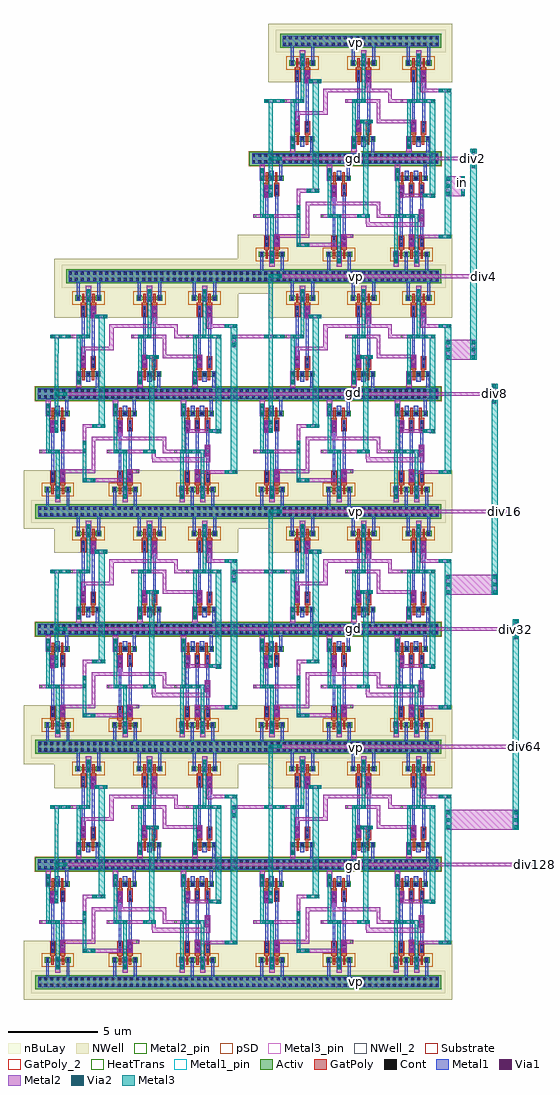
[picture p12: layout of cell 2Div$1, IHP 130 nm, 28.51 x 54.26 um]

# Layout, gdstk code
from math import pi, radians
import gdstk
lib = gdstk.Library(unit=1e-6, precision=1e-09)
def R(c, l, rs):  # rectangles x0, y0, x1, y1
    for r in rs: c.add(gdstk.rectangle(r[:2], r[2:], *l))
def A(c, l, x, y, w, h, nx, ny, dx, dy):  # array of equal rectangles
    R(c, l, [(x+i*dx, y+j*dy, x+i*dx+w, y+j*dy+h) for i in range(nx) for j in range(ny)])
Activ = (1, 0)
GatPoly = (5, 0)
GatPoly_2 = (5, 2)
Cont = (6, 0)
Metal1 = (8, 0)
Metal1_pin = (8, 2)
Metal2 = (10, 0)
Metal2_pin = (10, 2)
pSD = (14, 0)
Via1 = (19, 0)
Via2 = (29, 0)
Metal3 = (30, 0)
Metal3_pin = (30, 2)
NWell = (31, 0)
NWell_2 = (31, 2)
nBuLay = (32, 0)
Substrate = (40, 0)
HeatTrans = (51, 0)

ptap1_2_3 = lib.new_cell('ptap1$2$3')
R(ptap1_2_3, Activ, [(0,0,0.78,0.78)])
R(ptap1_2_3, Cont, [(0.14,0.14,0.3,0.3), (0.48,0.14,0.64,0.3), (0.14,0.48,0.3,0.64), (0.48,0.48,0.64,0.64)])
R(ptap1_2_3, Metal1, [(0.14,0.09,0.64,0.69), (0.14,0.14,0.64,0.64)])
R(ptap1_2_3, Metal1_pin, [(0.14,0.14,0.64,0.64)])
R(ptap1_2_3, pSD, [(-0.03,-0.03,0.81,0.81)])
R(ptap1_2_3, Substrate, [(0,0,0.78,0.78)])
ptap1_2_3.add(gdstk.Label('sub!', (0.39,0.01), layer=63, texttype=0))
ptap1_2_3.add(gdstk.Label('sub!', (0.39,0.01), layer=40, texttype=0))

ntap1_5_6 = lib.new_cell('ntap1$5$6')
R(ntap1_5_6, Activ, [(0,0,7.8,0.78)])
A(ntap1_5_6, Cont, 0.08, 0.14, 0.16, 0.16, 23, 2, 0.34, 0.34)
R(ntap1_5_6, Metal1, [(0.08,0.09,7.72,0.69)])
R(ntap1_5_6, Metal1_pin, [(0.08,0.09,7.72,0.69), (0.08,0.14,7.72,0.64)])
R(ntap1_5_6, NWell, [(-0.24,-0.24,8.04,1.02), (0,0,7.8,0.78)])
R(ntap1_5_6, NWell_2, [(0,0,7.8,0.78)])
R(ntap1_5_6, nBuLay, [(-0.24,-0.24,8.04,1.02)])
ntap1_5_6.add(gdstk.Label('well', (3.9,0.01), layer=63, texttype=0))
ntap1_5_6.add(gdstk.Label('well', (3.9,0.01), layer=31, texttype=0))

ntap1_1_6_1 = lib.new_cell('ntap1$1$6$1')
R(ntap1_1_6_1, Activ, [(0,0,2.5,0.78)])
A(ntap1_1_6_1, Cont, 0.15, 0.14, 0.16, 0.16, 7, 2, 0.34, 0.34)
R(ntap1_1_6_1, Metal1, [(0.15,0.09,2.35,0.69)])
R(ntap1_1_6_1, Metal1_pin, [(0.15,0.09,2.35,0.69), (0.15,0.14,2.35,0.64)])
R(ntap1_1_6_1, NWell, [(-0.24,-0.24,2.74,1.02), (0,0,2.5,0.78)])
R(ntap1_1_6_1, NWell_2, [(0,0,2.5,0.78)])
R(ntap1_1_6_1, nBuLay, [(-0.24,-0.24,2.74,1.02)])
ntap1_1_6_1.add(gdstk.Label('well', (1.25,0.01), layer=63, texttype=0))
ntap1_1_6_1.add(gdstk.Label('well', (1.25,0.01), layer=31, texttype=0))

nmos_14_1 = lib.new_cell('nmos$14$1')
A(nmos_14_1, Activ, 0, 0, 0.3, 0.3, 3, 1, 0.51, 0)
R(nmos_14_1, Activ, [(0,0,1.32,0.3)])
R(nmos_14_1, GatPoly, [(0.34,-0.18,0.47,0.48), (0.85,-0.18,0.98,0.48)])
R(nmos_14_1, GatPoly_2, [(0.34,-0.18,0.47,0.48)])
A(nmos_14_1, Cont, 0.07, 0.07, 0.16, 0.16, 3, 1, 0.51, 0)
A(nmos_14_1, Metal1, 0.07, 0, 0.16, 0.3, 3, 1, 0.51, 0)
R(nmos_14_1, Metal1_pin, [(0.07,0,0.23,0.3), (0.58,0,0.74,0.3)])
R(nmos_14_1, HeatTrans, [(0.34,-0.18,0.47,0.48), (0.85,-0.18,0.98,0.48)])
nmos_14_1.add(gdstk.Label('nmos', (0.405,0.15), layer=63, texttype=0))
nmos_14_1.add(gdstk.Label('nmos', (0.405,0.15), layer=51, texttype=0))
nmos_14_1.add(gdstk.Label('nmos', (0.915,0.15), layer=51, texttype=0))

ptap1_1_7_1 = lib.new_cell('ptap1$1$7$1')
R(ptap1_1_7_1, Activ, [(0,0,2.5,0.78)])
A(ptap1_1_7_1, Cont, 0.15, 0.14, 0.16, 0.16, 7, 2, 0.34, 0.34)
R(ptap1_1_7_1, Metal1, [(0.15,0.09,2.35,0.69), (0.15,0.14,2.35,0.64)])
R(ptap1_1_7_1, Metal1_pin, [(0.15,0.14,2.35,0.64)])
R(ptap1_1_7_1, pSD, [(-0.03,-0.03,2.53,0.81)])
R(ptap1_1_7_1, Substrate, [(0,0,2.5,0.78)])
ptap1_1_7_1.add(gdstk.Label('sub!', (1.25,0.01), layer=63, texttype=0))
ptap1_1_7_1.add(gdstk.Label('sub!', (1.25,0.01), layer=40, texttype=0))

via_8_2_1 = lib.new_cell('Via$8$2$1')
R(via_8_2_1, Metal2, [(-0.1,-0.35,0.1,0.35)])
R(via_8_2_1, Via2, [(-0.095,-0.3,0.095,-0.11), (-0.095,0.11,0.095,0.3)])
R(via_8_2_1, Metal3, [(-0.1,-0.35,0.1,0.35)])

via_10_4_1 = lib.new_cell('Via$10$4$1')
R(via_10_4_1, Metal1, [(-0.105,-0.35,0.105,0.35)])
R(via_10_4_1, Metal2, [(-0.1,-0.35,0.1,0.35)])
R(via_10_4_1, Via1, [(-0.095,-0.3,0.095,-0.11), (-0.095,0.11,0.095,0.3)])

via_6_8_1 = lib.new_cell('Via$6$8$1')
R(via_6_8_1, GatPoly, [(-0.32,-0.15,0.32,0.15)])
R(via_6_8_1, Cont, [(-0.25,-0.08,-0.09,0.08), (0.09,-0.08,0.25,0.08)])
R(via_6_8_1, Metal1, [(-0.3,-0.08,0.3,0.08)])

pmos_12_1 = lib.new_cell('pmos$12$1')
A(pmos_12_1, Activ, 0, 0, 0.3, 0.3, 3, 1, 0.57, 0)
R(pmos_12_1, Activ, [(0,0.075,1.44,0.225)])
R(pmos_12_1, GatPoly, [(0.37,-0.105,0.5,0.405), (0.37,-0.105,0.5,0.405), (0.94,-0.105,1.07,0.405)])
A(pmos_12_1, Cont, 0.07, 0.07, 0.16, 0.16, 3, 1, 0.57, 0)
R(pmos_12_1, Metal1, [(0.07,0.02,0.23,0.28), (0.07,0.02,0.23,0.28), (0.64,0.02,0.8,0.28), (0.64,0.02,0.8,0.28), (1.21,0.02,1.37,0.28)])
R(pmos_12_1, pSD, [(-0.18,-0.225,1.62,0.525)])
R(pmos_12_1, NWell, [(-0.31,-0.31,1.75,0.61)])
R(pmos_12_1, Substrate, [(1.14,0,1.44,0.3)])
R(pmos_12_1, HeatTrans, [(0.37,-0.105,0.5,0.405), (0.94,-0.105,1.07,0.405)])
pmos_12_1.add(gdstk.Label('pmos', (0.435,0.15), layer=63, texttype=0))
pmos_12_1.add(gdstk.Label('pmos', (0.435,0.15), layer=51, texttype=0))
pmos_12_1.add(gdstk.Label('pmos', (1.005,0.15), layer=51, texttype=0))

nand_2in_nmosx2_7_1 = lib.new_cell('NAND_2in_nmosx2$7$1')
R(nand_2in_nmosx2_7_1, GatPoly, [(0.605,-3.005,0.905,-2.895), (1.165,-3.005,1.465,-2.895), (0.6,0.58,0.9,0.73), (1.16,0.58,1.46,0.73), (0.68,0.68,0.81,0.77), (1.25,0.68,1.38,0.77)])
R(nand_2in_nmosx2_7_1, Metal1, [(0.445,-4.15,0.605,-3.37), (0.915,-3.675,1.155,-3.415), (0.915,-3.435,1.155,-3.095), (0.67,-2.44,0.835,-2.21), (0.67,-2.21,0.83,-1.27), (1.23,-2.21,1.39,-1.27), (0.67,-1.31,0.83,-0.37), (1.23,-1.31,1.39,-0.37), (0.67,-0.37,0.83,-0.12), (1.23,-0.37,1.39,-0.01), (1.52,1,1.68,1.2), (0.38,1.01,0.54,1.15), (0.38,1.115,0.54,1.99), (1.52,1.115,1.68,1.94)])
R(nand_2in_nmosx2_7_1, Metal1_pin, [(0.44,-4.395,0.57,-4.265), (0.4,2.15,0.53,2.28)])
R(nand_2in_nmosx2_7_1, Metal2, [(1.415,-3.995,1.705,-3.795), (1.415,-3.795,1.705,-3.095), (1.165,-2.875,1.465,-2.175), (1.62,-1.24,2.05,-1.04), (0.6,-0.14,0.9,0.56), (0.88,0.78,1.17,0.98), (0.88,0.98,1.17,1.68)])
R(nand_2in_nmosx2_7_1, Metal2_pin, [(1.255,-2.345,1.385,-2.215), (1.905,-1.205,2.035,-1.075), (0.69,-0.1,0.82,0.03)])
R(nand_2in_nmosx2_7_1, Metal3, [(1.465,-3.105,1.665,-2.905), (1.465,-2.905,1.665,-1.045), (0.93,-1.09,1.13,0.17), (0.93,0.1,1.13,0.62), (0.93,0.62,1.13,0.72), (0.93,0.71,1.13,0.87)])
R(nand_2in_nmosx2_7_1, NWell, [(-0.85,-0.1,2.93,3.17)])
nand_2in_nmosx2_7_1.add(gdstk.Reference(ntap1_1_6_1, (-0.23,1.81)))
nand_2in_nmosx2_7_1.add(gdstk.Reference(nmos_14_1, (1.695,-3.095), rotation=pi))
nand_2in_nmosx2_7_1.add(gdstk.Reference(ptap1_1_7_1, (-0.22,-4.73)))
nand_2in_nmosx2_7_1.add(gdstk.Reference(via_8_2_1, (1.27,-1.14), rotation=3*pi/2))
nand_2in_nmosx2_7_1.add(gdstk.Reference(via_10_4_1, (1.565,-3.445), rotation=pi))
nand_2in_nmosx2_7_1.add(gdstk.Reference(via_10_4_1, (1.315,-2.525), rotation=pi))
nand_2in_nmosx2_7_1.add(gdstk.Reference(via_10_4_1, (0.75,0.21), rotation=pi))
nand_2in_nmosx2_7_1.add(gdstk.Reference(via_10_4_1, (1.03,1.13), rotation=pi))
nand_2in_nmosx2_7_1.add(gdstk.Reference(via_6_8_1, (0.755,-2.575), rotation=3*pi/2))
nand_2in_nmosx2_7_1.add(gdstk.Reference(via_6_8_1, (1.315,-2.575), rotation=3*pi/2))
nand_2in_nmosx2_7_1.add(gdstk.Reference(via_6_8_1, (0.75,0.26), rotation=3*pi/2))
nand_2in_nmosx2_7_1.add(gdstk.Reference(via_6_8_1, (1.31,0.26), rotation=3*pi/2))
nand_2in_nmosx2_7_1.add(gdstk.Reference(via_8_2_1, (1.565,-3.445), rotation=pi))
nand_2in_nmosx2_7_1.add(gdstk.Reference(via_8_2_1, (1.03,1.13), rotation=pi))
nand_2in_nmosx2_7_1.add(gdstk.Reference(pmos_12_1, (1.75,1.13), rotation=pi))
nand_2in_nmosx2_7_1.add(gdstk.Label('VP', (0.46,2.21), layer=8, texttype=25))
nand_2in_nmosx2_7_1.add(gdstk.Label('GND', (0.505,-4.325), layer=8, texttype=25))
nand_2in_nmosx2_7_1.add(gdstk.Label('y', (1.97,-1.14), layer=10, texttype=25))
nand_2in_nmosx2_7_1.add(gdstk.Label('b', (0.75,-0.04), layer=10, texttype=25))
nand_2in_nmosx2_7_1.add(gdstk.Label('a', (1.315,-2.285), layer=10, texttype=25))

via_11_2_1 = lib.new_cell('Via$11$2$1')
R(via_11_2_1, Metal2, [(-0.1,-0.555,0.1,0.555)])
A(via_11_2_1, Via2, -0.095, -0.505, 0.19, 0.19, 1, 3, 0, 0.41)
R(via_11_2_1, Metal3, [(-0.1,-0.555,0.1,0.555)])

nmos_2_4_1 = lib.new_cell('nmos$2$4$1')
A(nmos_2_4_1, Activ, 0, 0, 0.3, 0.3, 4, 1, 0.51, 0)
R(nmos_2_4_1, Activ, [(0,0,1.83,0.3)])
A(nmos_2_4_1, GatPoly, 0.34, -0.18, 0.13, 0.66, 3, 1, 0.51, 0)
R(nmos_2_4_1, GatPoly_2, [(0.34,-0.18,0.47,0.48)])
A(nmos_2_4_1, Cont, 0.07, 0.07, 0.16, 0.16, 4, 1, 0.51, 0)
A(nmos_2_4_1, Metal1, 0.07, 0, 0.16, 0.3, 4, 1, 0.51, 0)
R(nmos_2_4_1, Metal1_pin, [(0.07,0,0.23,0.3), (0.58,0,0.74,0.3)])
A(nmos_2_4_1, HeatTrans, 0.34, -0.18, 0.13, 0.66, 3, 1, 0.51, 0)
nmos_2_4_1.add(gdstk.Label('nmos', (0.405,0.15), layer=63, texttype=0))
nmos_2_4_1.add(gdstk.Label('nmos', (0.405,0.15), layer=51, texttype=0))
nmos_2_4_1.add(gdstk.Label('nmos', (0.915,0.15), layer=51, texttype=0))
nmos_2_4_1.add(gdstk.Label('nmos', (1.425,0.15), layer=51, texttype=0))

ntap1_6_1 = lib.new_cell('ntap1$6$1')
R(ntap1_6_1, Activ, [(0,0,3.5,0.78)])
A(ntap1_6_1, Cont, 0.14, 0.14, 0.16, 0.16, 10, 2, 0.34, 0.34)
R(ntap1_6_1, Metal1, [(0.14,0.09,3.36,0.69)])
R(ntap1_6_1, Metal1_pin, [(0.14,0.09,3.36,0.69), (0.14,0.14,3.36,0.64)])
R(ntap1_6_1, NWell, [(-0.24,-0.24,3.74,1.02), (0,0,3.5,0.78)])
R(ntap1_6_1, NWell_2, [(0,0,3.5,0.78)])
R(ntap1_6_1, nBuLay, [(-0.24,-0.24,3.74,1.02)])
ntap1_6_1.add(gdstk.Label('well', (1.75,0.01), layer=63, texttype=0))
ntap1_6_1.add(gdstk.Label('well', (1.75,0.01), layer=31, texttype=0))

ptap1_4_1 = lib.new_cell('ptap1$4$1')
R(ptap1_4_1, Activ, [(0,0,3.5,0.78)])
A(ptap1_4_1, Cont, 0.14, 0.14, 0.16, 0.16, 10, 2, 0.34, 0.34)
R(ptap1_4_1, Metal1, [(0.14,0.09,3.36,0.69), (0.14,0.14,3.36,0.64)])
R(ptap1_4_1, Metal1_pin, [(0.14,0.14,3.36,0.64)])
R(ptap1_4_1, pSD, [(-0.03,-0.03,3.53,0.81)])
R(ptap1_4_1, Substrate, [(0,0,3.5,0.78)])
ptap1_4_1.add(gdstk.Label('sub!', (1.75,0.01), layer=63, texttype=0))
ptap1_4_1.add(gdstk.Label('sub!', (1.75,0.01), layer=40, texttype=0))

pmos_2_4_1 = lib.new_cell('pmos$2$4$1')
A(pmos_2_4_1, Activ, 0, 0, 0.3, 0.3, 4, 1, 0.57, 0)
R(pmos_2_4_1, Activ, [(0,0.075,2.01,0.225)])
A(pmos_2_4_1, GatPoly, 0.37, -0.105, 0.13, 0.51, 3, 1, 0.57, 0)
R(pmos_2_4_1, GatPoly, [(0.37,-0.105,0.5,0.405)])
A(pmos_2_4_1, Cont, 0.07, 0.07, 0.16, 0.16, 4, 1, 0.57, 0)
A(pmos_2_4_1, Metal1, 0.64, 0.02, 0.16, 0.26, 3, 1, 0.57, 0)
R(pmos_2_4_1, Metal1, [(0.07,0.02,0.23,0.28), (0.07,0.02,0.23,0.28), (0.64,0.02,0.8,0.28)])
R(pmos_2_4_1, pSD, [(-0.18,-0.225,2.19,0.525)])
R(pmos_2_4_1, NWell, [(-0.31,-0.31,2.32,0.61)])
R(pmos_2_4_1, Substrate, [(1.71,0,2.01,0.3)])
A(pmos_2_4_1, HeatTrans, 0.37, -0.105, 0.13, 0.51, 3, 1, 0.57, 0)
pmos_2_4_1.add(gdstk.Label('pmos', (0.435,0.15), layer=63, texttype=0))
pmos_2_4_1.add(gdstk.Label('pmos', (0.435,0.15), layer=51, texttype=0))
pmos_2_4_1.add(gdstk.Label('pmos', (1.005,0.15), layer=51, texttype=0))
pmos_2_4_1.add(gdstk.Label('pmos', (1.575,0.15), layer=51, texttype=0))

nand_3in_nmosx3_10_1 = lib.new_cell('NAND_3in_nmosx3$10$1')
R(nand_3in_nmosx3_10_1, GatPoly, [(0.115,-3.025,0.245,-2.915), (0.685,-3.025,0.815,-2.915), (0.035,-3.005,0.335,-2.895), (0.605,-3.005,0.905,-2.895), (1.165,-3.005,1.465,-2.895), (0.03,0.58,0.33,0.73), (0.6,0.58,0.9,0.73), (1.16,0.58,1.46,0.73), (0.68,0.68,0.81,0.77), (1.25,0.68,1.38,0.77)])
R(nand_3in_nmosx3_10_1, Metal1, [(-0.095,-4.15,0.065,-3.37), (0.375,-3.675,0.615,-3.415), (0.885,-3.675,1.125,-3.415), (0.375,-3.435,0.615,-3.095), (0.885,-3.435,1.125,-3.095), (0.67,-2.44,0.835,-2.09), (0.1,-2.42,0.265,-1.91), (0.67,-2.21,0.83,-1.27), (1.23,-2.21,1.39,-1.27), (0.1,-1.91,0.26,-0.56), (0.67,-1.31,0.83,-0.37), (1.23,-1.31,1.39,-0.37), (0.1,-0.62,0.26,-0.04), (1.23,-0.53,1.39,0), (0.67,-0.37,0.83,-0.11), (0.95,1,1.11,1.2), (-0.19,1.01,-0.03,1.15), (-0.19,1.115,-0.03,1.99), (0.95,1.115,1.11,1.94)])
R(nand_3in_nmosx3_10_1, Metal1_pin, [(0.44,-4.405,0.57,-4.275), (0.74,2.15,0.87,2.28)])
R(nand_3in_nmosx3_10_1, Metal2, [(1.375,-3.995,1.665,-3.795), (1.375,-3.795,1.665,-3.095), (1.155,-2.875,1.455,-2.175), (0.03,-1.51,0.33,-0.81), (1.62,-1.24,2.05,-1.04), (0.59,-0.14,0.89,0.56), (0.31,0.78,0.6,0.98), (1.45,0.78,1.74,0.98), (0.31,0.98,0.6,1.68), (1.45,0.98,1.74,1.68)])
R(nand_3in_nmosx3_10_1, Metal2_pin, [(1.255,-2.385,1.385,-2.255), (0.11,-1.215,0.24,-1.085), (1.905,-1.205,2.035,-1.075), (0.69,-0.07,0.82,0.06)])
R(nand_3in_nmosx3_10_1, Metal3, [(1.425,-3.105,1.625,-2.905), (1.425,-2.905,1.625,-2.5), (1.425,-2.5,1.625,-1.15), (0.36,-1.24,0.56,-0.97), (0.38,-1.24,0.565,-1.04), (1.66,-1.24,1.7,-1.09), (1.5,-1.09,1.7,0.17), (0.36,-0.97,0.56,0.26), (1.5,-0.03,1.7,0.62), (0.36,0.08,0.56,0.78), (1.5,0.62,1.7,0.72), (1.5,0.71,1.7,0.87)])
R(nand_3in_nmosx3_10_1, NWell, [(-1.52,-0.1,-0.85,3.17), (-0.85,-0.1,2.93,3.17)])
nand_3in_nmosx3_10_1.add(gdstk.Reference(via_10_4_1, (1.525,-3.445), rotation=pi))
nand_3in_nmosx3_10_1.add(gdstk.Reference(via_10_4_1, (1.315,-2.525), rotation=pi))
nand_3in_nmosx3_10_1.add(gdstk.Reference(via_10_4_1, (0.18,-1.16), rotation=pi))
nand_3in_nmosx3_10_1.add(gdstk.Reference(via_10_4_1, (0.75,0.21), rotation=pi))
nand_3in_nmosx3_10_1.add(gdstk.Reference(via_10_4_1, (0.46,1.13), rotation=pi))
nand_3in_nmosx3_10_1.add(gdstk.Reference(via_10_4_1, (1.6,1.13), rotation=pi))
nand_3in_nmosx3_10_1.add(gdstk.Reference(via_11_2_1, (1.12,-1.14), rotation=3*pi/2))
nand_3in_nmosx3_10_1.add(gdstk.Reference(nmos_2_4_1, (1.665,-3.095), rotation=pi))
nand_3in_nmosx3_10_1.add(gdstk.Reference(ntap1_6_1, (-0.9,1.81)))
nand_3in_nmosx3_10_1.add(gdstk.Reference(ptap1_4_1, (-0.89,-4.73)))
nand_3in_nmosx3_10_1.add(gdstk.Reference(via_8_2_1, (1.525,-3.445), rotation=pi))
nand_3in_nmosx3_10_1.add(gdstk.Reference(via_8_2_1, (0.46,1.13), rotation=pi))
nand_3in_nmosx3_10_1.add(gdstk.Reference(via_8_2_1, (1.6,1.13), rotation=pi))
nand_3in_nmosx3_10_1.add(gdstk.Reference(via_6_8_1, (0.185,-2.575), rotation=3*pi/2))
nand_3in_nmosx3_10_1.add(gdstk.Reference(via_6_8_1, (0.755,-2.575), rotation=3*pi/2))
nand_3in_nmosx3_10_1.add(gdstk.Reference(via_6_8_1, (1.315,-2.575), rotation=3*pi/2))
nand_3in_nmosx3_10_1.add(gdstk.Reference(via_6_8_1, (0.18,0.26), rotation=3*pi/2))
nand_3in_nmosx3_10_1.add(gdstk.Reference(via_6_8_1, (0.75,0.26), rotation=3*pi/2))
nand_3in_nmosx3_10_1.add(gdstk.Reference(via_6_8_1, (1.31,0.26), rotation=3*pi/2))
nand_3in_nmosx3_10_1.add(gdstk.Reference(pmos_2_4_1, (1.75,1.13), rotation=pi))
nand_3in_nmosx3_10_1.add(gdstk.Label('VP', (0.8,2.21), layer=8, texttype=25))
nand_3in_nmosx3_10_1.add(gdstk.Label('GND', (0.505,-4.335), layer=8, texttype=25))
nand_3in_nmosx3_10_1.add(gdstk.Label('y', (1.97,-1.14), layer=10, texttype=25))
nand_3in_nmosx3_10_1.add(gdstk.Label('b', (0.76,0.02), layer=10, texttype=25))
nand_3in_nmosx3_10_1.add(gdstk.Label('c', (0.17,-1.15), layer=10, texttype=25))
nand_3in_nmosx3_10_1.add(gdstk.Label('a', (1.315,-2.325), layer=10, texttype=25))

ntap1_3_2_1 = lib.new_cell('ntap1$3$2$1')
R(ntap1_3_2_1, Activ, [(0,0,1.8,0.78)])
A(ntap1_3_2_1, Cont, 0.14, 0.14, 0.16, 0.16, 5, 2, 0.34, 0.34)
R(ntap1_3_2_1, Metal1, [(0.14,0.09,1.66,0.69)])
R(ntap1_3_2_1, Metal1_pin, [(0.14,0.09,1.66,0.69), (0.14,0.14,1.66,0.64)])
R(ntap1_3_2_1, NWell, [(-0.24,-0.24,2.04,1.02), (0,0,1.8,0.78)])
R(ntap1_3_2_1, NWell_2, [(0,0,1.8,0.78)])
R(ntap1_3_2_1, nBuLay, [(-0.24,-0.24,2.04,1.02)])
ntap1_3_2_1.add(gdstk.Label('well', (0.9,0.01), layer=63, texttype=0))
ntap1_3_2_1.add(gdstk.Label('well', (0.9,0.01), layer=31, texttype=0))

via_36_1 = lib.new_cell('Via$36$1')
R(via_36_1, Metal2, [(-0.35,-0.1,0.35,0.1)])
R(via_36_1, Via2, [(-0.3,-0.095,-0.11,0.095), (0.11,-0.095,0.3,0.095)])
R(via_36_1, Metal3, [(-0.35,-0.1,0.35,0.1)])

via_12_2_1 = lib.new_cell('Via$12$2$1')
R(via_12_2_1, Metal2, [(-0.555,-0.1,0.555,0.1)])
A(via_12_2_1, Via2, -0.505, -0.095, 0.19, 0.19, 3, 1, 0.41, 0)
R(via_12_2_1, Metal3, [(-0.555,-0.1,0.555,0.1)])

via_13_3_1 = lib.new_cell('Via$13$3$1')
R(via_13_3_1, Metal2, [(-0.76,-0.1,0.76,0.1)])
A(via_13_3_1, Via2, -0.71, -0.095, 0.19, 0.19, 4, 1, 0.41, 0)
R(via_13_3_1, Metal3, [(-0.76,-0.1,0.76,0.1)])

ntap1_2_9_1 = lib.new_cell('ntap1$2$9$1')
R(ntap1_2_9_1, Activ, [(0,0,2,0.78)])
A(ntap1_2_9_1, Cont, 0.07, 0.14, 0.16, 0.16, 6, 2, 0.34, 0.34)
R(ntap1_2_9_1, Metal1, [(0.07,0.09,1.93,0.69)])
R(ntap1_2_9_1, Metal1_pin, [(0.07,0.09,1.93,0.69), (0.07,0.14,1.93,0.64)])
R(ntap1_2_9_1, NWell, [(-0.24,-0.24,2.24,1.02), (0,0,2,0.78)])
R(ntap1_2_9_1, NWell_2, [(0,0,2,0.78)])
R(ntap1_2_9_1, nBuLay, [(-0.24,-0.24,2.24,1.02)])
ntap1_2_9_1.add(gdstk.Label('well', (1,0.01), layer=63, texttype=0))
ntap1_2_9_1.add(gdstk.Label('well', (1,0.01), layer=31, texttype=0))

d_flip_flop_2_1 = lib.new_cell('d_flip_flop$2$1')
R(d_flip_flop_2_1, Metal1_pin, [(5.305,-5.04,5.435,-4.91), (4.995,1.37,5.125,1.5), (4.785,7.96,4.915,8.09)])
R(d_flip_flop_2_1, Metal2, [(-0.15,-2.95,1.29,-2.75), (1.29,-2.95,1.96,-2.75), (5.3,-2.91,5.88,-2.71), (7.74,-2.91,9.52,-2.71), (7.74,-2.81,7.94,-2.31), (1.34,-2.31,1.6,-2.04), (1.36,-2.31,4.58,-2.04), (7.74,-2.31,7.94,-1.39), (4.38,-2.13,4.585,-1.73), (3.36,-1.81,3.94,-1.61), (3.79,-1.81,3.99,-1.39), (4.38,-1.81,4.67,-1.61), (4.67,-1.81,6.02,-1.61), (8.24,-1.81,8.44,-0.89), (8.27,-1.81,9.71,-1.61), (3.79,-1.39,3.99,-0.91), (7.74,-1.39,7.94,-0.91), (3.79,-1.1,4.07,-0.9), (4.07,-1.1,4.65,-0.9), (4.65,-1.1,6.26,-0.9), (6.16,-1.1,7.94,-0.9), (6.215,-0.94,6.515,-0.675), (8.24,-0.89,8.44,-0.2), (1.38,-0.67,2.58,-0.47), (7.69,-0.4,8.27,-0.2), (1.79,3.46,3.17,3.66), (3.17,3.46,3.99,3.66), (3.79,3.53,3.99,4.17), (8.255,3.655,8.505,4.12), (6.71,3.92,6.96,5.17), (6.71,3.92,7.72,4.12), (7.72,3.92,8.47,4.12), (3.79,4.17,3.99,4.59), (2.465,4.59,3.35,4.79), (3.79,4.59,4.61,4.79), (9.14,4.59,10.17,4.79), (3.15,4.79,3.35,5.21), (0.13,5.17,0.61,5.37), (0.61,5.17,1.48,5.37), (1.23,5.17,1.53,5.19), (3.15,5.17,3.67,5.37), (3.67,5.17,4.54,5.37), (4.22,5.17,6.21,5.37), (6.21,5.17,6.96,5.37), (1.23,5.19,1.53,5.69), (4.29,5.29,4.59,5.69)])
R(d_flip_flop_2_1, Metal2_pin, [(5.325,-2.88,5.455,-2.75), (10.695,-1.775,10.825,-1.645), (10.075,4.625,10.205,4.755)])
R(d_flip_flop_2_1, Metal3, [(-0.15,-2.85,0.2,-2.45), (-0.15,-2.45,0.2,4.28), (4.45,-1.81,4.73,2.56), (0.73,-0.7,1.05,3.6), (9.78,-0.47,9.98,3.76), (7.205,-0.4,7.54,4.77), (4.45,2.56,4.73,3.49), (0.73,3.6,1.05,4.69), (9.775,3.76,9.98,4.69), (-0.15,4.28,0.2,5.23), (7.205,4.77,7.54,5.76)])
R(d_flip_flop_2_1, Metal3_pin, [(-0.045,1.42,0.085,1.55)])
d_flip_flop_2_1.add(gdstk.Reference(nand_2in_nmosx2_7_1, (5.05,-2.85), x_reflection=True))
d_flip_flop_2_1.add(gdstk.Reference(nand_3in_nmosx3_10_1, (1.31,-2.85), x_reflection=True))
d_flip_flop_2_1.add(gdstk.Reference(nand_2in_nmosx2_7_1, (7.09,5.83)))
d_flip_flop_2_1.add(gdstk.Reference(nand_2in_nmosx2_7_1, (0.63,5.83)))
d_flip_flop_2_1.add(gdstk.Reference(nand_2in_nmosx2_7_1, (8.79,-2.85), x_reflection=True))
d_flip_flop_2_1.add(gdstk.Reference(ntap1_3_2_1, (2.45,7.64)))
d_flip_flop_2_1.add(gdstk.Reference(ntap1_3_2_1, (5.51,7.64)))
d_flip_flop_2_1.add(gdstk.Reference(via_36_1, (0.2,-2.85), rotation=pi))
d_flip_flop_2_1.add(gdstk.Reference(via_36_1, (0.2,5.27), rotation=pi))
d_flip_flop_2_1.add(gdstk.Reference(nand_2in_nmosx2_7_1, (3.69,5.83)))
d_flip_flop_2_1.add(gdstk.Reference(via_12_2_1, (9.68,4.69), rotation=pi))
d_flip_flop_2_1.add(gdstk.Reference(via_8_2_1, (9.88,-0.32), rotation=pi))
d_flip_flop_2_1.add(gdstk.Reference(via_36_1, (1.08,-0.57), rotation=pi))
d_flip_flop_2_1.add(gdstk.Reference(via_13_3_1, (1.49,4.69), rotation=pi))
d_flip_flop_2_1.add(gdstk.Reference(via_36_1, (7.54,-0.3), rotation=pi))
d_flip_flop_2_1.add(gdstk.Reference(via_36_1, (7.41,5.79), rotation=pi))
d_flip_flop_2_1.add(gdstk.Reference(via_36_1, (4.73,-1.71), rotation=pi))
d_flip_flop_2_1.add(gdstk.Reference(via_36_1, (4.56,3.55), rotation=pi))
d_flip_flop_2_1.add(gdstk.Reference(ntap1_3_2_1, (3.47,-5.44)))
d_flip_flop_2_1.add(gdstk.Reference(ntap1_2_9_1, (6.94,-5.44)))
d_flip_flop_2_1.add(gdstk.Label('VP', (5.37,-4.98), layer=8, texttype=25))
d_flip_flop_2_1.add(gdstk.Label('VP', (4.85,7.56), layer=8, texttype=25))
d_flip_flop_2_1.add(gdstk.Label('GND', (5.06,1.43), layer=8, texttype=25))
d_flip_flop_2_1.add(gdstk.Label('q', (10.14,4.69), layer=10, texttype=25))
d_flip_flop_2_1.add(gdstk.Label('d', (5.39,-2.81), layer=10, texttype=25))
d_flip_flop_2_1.add(gdstk.Label('q_', (10.76,-1.71), layer=10, texttype=25))
d_flip_flop_2_1.add(gdstk.Label('clk', (0.02,1.48), layer=30, texttype=25))

via_39_1 = lib.new_cell('Via$39$1')
R(via_39_1, Metal2, [(-0.1,-0.35,0.1,0.35)])
R(via_39_1, Via2, [(-0.095,-0.3,0.095,-0.11), (-0.095,0.11,0.095,0.3)])
R(via_39_1, Metal3, [(-0.1,-0.35,0.1,0.35)])

via_40_1 = lib.new_cell('Via$40$1')
R(via_40_1, Metal2, [(-0.1,-0.555,0.1,0.555)])
A(via_40_1, Via2, -0.095, -0.505, 0.19, 0.19, 1, 3, 0, 0.41)
R(via_40_1, Metal3, [(-0.1,-0.555,0.1,0.555)])

via_43_1 = lib.new_cell('Via$43$1')
R(via_43_1, Metal2, [(-0.35,-0.1,0.35,0.1)])
R(via_43_1, Via2, [(-0.3,-0.095,-0.11,0.095), (0.11,-0.095,0.3,0.095)])
R(via_43_1, Metal3, [(-0.35,-0.1,0.35,0.1)])

c_2div_1 = lib.new_cell('2Div$1')
R(c_2div_1, Metal1_pin, [(-72.89,-8.14,-72.79,-8.04), (-73.1,-1.69,-73,-1.59), (-72.89,4.84,-72.79,4.94), (-73.1,11.48,-73,11.58), (-72.89,17.98,-72.79,18.08), (-73.1,24.57,-73,24.67), (-72.89,31.02,-72.79,31.12), (-73.1,37.58,-73,37.68), (-72.89,44.08,-72.79,44.18)])
A(c_2div_1, Metal2, -88.09, -6.49, 2.79, 0.21, 1, 3, 0, 13.08)
A(c_2div_1, Metal2, -76.19, -6.49, 2.79, 0.21, 1, 4, 0, 13.08)
A(c_2div_1, Metal2, -89.55, -1.69, 12.14, 0.2, 1, 3, 0, 13.08)
A(c_2div_1, Metal2, -77.73, -1.69, 1.81, 0.2, 1, 7, 0, 6.54)
A(c_2div_1, Metal2, -75.97, -1.69, 3.51, 0.2, 1, 7, 0, 6.54)
A(c_2div_1, Metal2, -72.46, -1.69, 5.12, 0.2, 1, 7, 0, 6.54)
A(c_2div_1, Metal2, -67.48, -1.69, 1.16, 0.2, 1, 7, 0, 6.54)
A(c_2div_1, Metal2, -79.78, 1.51, 1.795, 0.2, 1, 3, 0, 13.08)
R(c_2div_1, Metal2, [(-66.32,-1.69,-62.86,-1.49), (-67.87,0.335,-63.9,1.445), (-81.18,2.04,-80.88,2.62), (-66.43,4.85,-64.495,5.05), (-64.495,4.85,-63.4,5.05), (-66.45,11.39,-63.9,11.59), (-67.87,13.41,-66.26,14.52), (-66.41,13.41,-65.07,14.52), (-66.43,17.93,-64.495,18.13), (-66.35,24.47,-65.09,24.67), (-67.87,26.47,-66.26,27.58), (-81.18,28.2,-80.88,28.82), (-66.39,31.01,-65.74,31.21), (-67.87,35.56,-66.85,36.67)])
R(c_2div_1, Metal2_pin, [(-63.04,-1.66,-62.9,-1.52), (-63.61,4.87,-63.47,5.01), (-64.09,11.41,-63.95,11.55), (-64.69,17.95,-64.55,18.09), (-65.24,24.5,-65.1,24.64), (-65.89,31.04,-65.75,31.18), (-66.47,37.59,-66.33,37.73)])
A(c_2div_1, Metal3, -88.09, -6.49, 0.2, 1.6, 1, 3, 0, 13.08)
A(c_2div_1, Metal3, -76.19, -6.49, 0.2, 1.6, 1, 4, 0, 13.08)
A(c_2div_1, Metal3, -77.73, 1.1, 0.2, 3.94, 1, 3, 0, 13.08)
A(c_2div_1, Metal3, -77.68, 1.47, 0.155, 3.58, 1, 3, 0, 13.08)
R(c_2div_1, Metal3, [(-64.17,0.335,-64.03,2.23), (-64.03,0.335,-63.83,2.23), (-64.17,2.08,-63.83,12.05), (-64.17,2.23,-63.83,2.6), (-64.17,2.23,-63.83,2.6), (-65.35,13.41,-65.01,25.13), (-66.53,26.47,-66.19,38.21), (-66.53,36.3,-66.19,36.67), (-66.53,36.3,-66.19,36.67), (-66.53,36.53,-66.19,38.21)])
R(c_2div_1, Metal3_pin, [(-67,36.27,-66.89,36.4)])
c_2div_1.add(gdstk.Reference(ptap1_2_3, (-79.73,-1.98), rotation=pi, x_reflection=True))
c_2div_1.add(gdstk.Reference(ptap1_2_3, (-79.39,-1.98), rotation=pi, x_reflection=True))
c_2div_1.add(gdstk.Reference(ptap1_2_3, (-79.05,-1.98), rotation=pi, x_reflection=True))
c_2div_1.add(gdstk.Reference(ptap1_2_3, (-78.71,-1.98), rotation=pi, x_reflection=True))
c_2div_1.add(gdstk.Reference(ptap1_2_3, (-78.37,-1.98), rotation=pi, x_reflection=True))
c_2div_1.add(gdstk.Reference(ntap1_5_6, (-76.72,4.56), rotation=pi, x_reflection=True))
c_2div_1.add(gdstk.Reference(ntap1_5_6, (-78.42,-8.52), rotation=pi, x_reflection=True))
c_2div_1.add(gdstk.Reference(d_flip_flop_2_1, (-79.65,-3.08), rotation=pi, x_reflection=True))
c_2div_1.add(gdstk.Reference(d_flip_flop_2_1, (-67.75,-3.08), rotation=pi, x_reflection=True))
c_2div_1.add(gdstk.Reference(ptap1_2_3, (-79.73,11.1), rotation=pi, x_reflection=True))
c_2div_1.add(gdstk.Reference(ptap1_2_3, (-79.73,24.18), rotation=pi, x_reflection=True))
c_2div_1.add(gdstk.Reference(d_flip_flop_2_1, (-67.75,23.08), rotation=pi, x_reflection=True))
c_2div_1.add(gdstk.Reference(d_flip_flop_2_1, (-67.75,36.16), rotation=pi, x_reflection=True))
c_2div_1.add(gdstk.Reference(ptap1_2_3, (-79.39,24.18), rotation=pi, x_reflection=True))
c_2div_1.add(gdstk.Reference(ptap1_2_3, (-79.05,24.18), rotation=pi, x_reflection=True))
c_2div_1.add(gdstk.Reference(ptap1_2_3, (-78.71,24.18), rotation=pi, x_reflection=True))
c_2div_1.add(gdstk.Reference(ptap1_2_3, (-78.37,24.18), rotation=pi, x_reflection=True))
c_2div_1.add(gdstk.Reference(ntap1_5_6, (-76.72,17.64), rotation=pi, x_reflection=True))
c_2div_1.add(gdstk.Reference(ntap1_5_6, (-76.72,30.72), rotation=pi, x_reflection=True))
c_2div_1.add(gdstk.Reference(d_flip_flop_2_1, (-79.65,10), rotation=pi, x_reflection=True))
c_2div_1.add(gdstk.Reference(via_39_1, (-76.09,34.7), rotation=pi, x_reflection=True))
c_2div_1.add(gdstk.Reference(via_39_1, (-75.84,32.85), rotation=3*pi/2, x_reflection=True))
c_2div_1.add(gdstk.Reference(ptap1_2_3, (-79.39,11.1), rotation=pi, x_reflection=True))
c_2div_1.add(gdstk.Reference(ptap1_2_3, (-79.05,11.1), rotation=pi, x_reflection=True))
c_2div_1.add(gdstk.Reference(ptap1_2_3, (-78.71,11.1), rotation=pi, x_reflection=True))
c_2div_1.add(gdstk.Reference(ptap1_2_3, (-78.37,11.1), rotation=pi, x_reflection=True))
c_2div_1.add(gdstk.Reference(d_flip_flop_2_1, (-79.65,23.08), rotation=pi, x_reflection=True))
c_2div_1.add(gdstk.Reference(via_39_1, (-76.09,21.62), rotation=pi, x_reflection=True))
c_2div_1.add(gdstk.Reference(via_39_1, (-75.84,19.77), rotation=3*pi/2, x_reflection=True))
c_2div_1.add(gdstk.Reference(via_39_1, (-76.09,8.54), rotation=pi, x_reflection=True))
c_2div_1.add(gdstk.Reference(via_39_1, (-75.84,6.69), rotation=3*pi/2, x_reflection=True))
c_2div_1.add(gdstk.Reference(via_39_1, (-76.09,-4.54), rotation=pi, x_reflection=True))
c_2div_1.add(gdstk.Reference(via_39_1, (-75.84,-6.39), rotation=3*pi/2, x_reflection=True))
c_2div_1.add(gdstk.Reference(via_39_1, (-87.99,21.62), rotation=pi, x_reflection=True))
c_2div_1.add(gdstk.Reference(via_39_1, (-87.74,19.77), rotation=3*pi/2, x_reflection=True))
c_2div_1.add(gdstk.Reference(via_39_1, (-87.99,8.54), rotation=pi, x_reflection=True))
c_2div_1.add(gdstk.Reference(via_39_1, (-87.74,6.69), rotation=3*pi/2, x_reflection=True))
c_2div_1.add(gdstk.Reference(via_39_1, (-87.99,-4.54), rotation=pi, x_reflection=True))
c_2div_1.add(gdstk.Reference(via_39_1, (-87.74,-6.39), rotation=3*pi/2, x_reflection=True))
c_2div_1.add(gdstk.Reference(via_39_1, (-79.68,27.52), rotation=pi, x_reflection=True))
c_2div_1.add(gdstk.Reference(via_39_1, (-79.68,14.44), rotation=pi, x_reflection=True))
c_2div_1.add(gdstk.Reference(via_39_1, (-79.68,1.36), rotation=pi, x_reflection=True))
c_2div_1.add(gdstk.Reference(via_40_1, (-66.95,36.115)))
c_2div_1.add(gdstk.Reference(via_40_1, (-67.77,36.115)))
c_2div_1.add(gdstk.Reference(via_43_1, (-77.38,37.65)))
c_2div_1.add(gdstk.Reference(via_40_1, (-66.36,37.655)))
c_2div_1.add(gdstk.Reference(via_40_1, (-66.36,27.025)))
c_2div_1.add(gdstk.Reference(via_40_1, (-67.77,27.025)))
c_2div_1.add(gdstk.Reference(via_43_1, (-89.28,24.57)))
c_2div_1.add(gdstk.Reference(via_43_1, (-89.28,11.49)))
c_2div_1.add(gdstk.Reference(via_43_1, (-89.28,-1.59)))
c_2div_1.add(gdstk.Reference(via_43_1, (-77.38,31.11)))
c_2div_1.add(gdstk.Reference(via_43_1, (-77.38,18.03)))
c_2div_1.add(gdstk.Reference(d_flip_flop_2_1, (-67.75,10), rotation=pi, x_reflection=True))
c_2div_1.add(gdstk.Reference(via_40_1, (-65.19,24.575)))
c_2div_1.add(gdstk.Reference(via_40_1, (-65.17,13.975)))
c_2div_1.add(gdstk.Reference(via_40_1, (-67.77,13.97)))
c_2div_1.add(gdstk.Reference(via_40_1, (-64,11.495)))
c_2div_1.add(gdstk.Reference(via_43_1, (-77.38,4.955)))
c_2div_1.add(gdstk.Reference(via_40_1, (-64,0.89)))
c_2div_1.add(gdstk.Reference(via_40_1, (-67.77,0.89)))
c_2div_1.add(gdstk.Label('vp', (-72.84,44.13), layer=8, texttype=2))
c_2div_1.add(gdstk.Label('vp', (-72.84,31.07), layer=8, texttype=2))
c_2div_1.add(gdstk.Label('vp', (-72.84,18.03), layer=8, texttype=2))
c_2div_1.add(gdstk.Label('vp', (-72.84,4.89), layer=8, texttype=2))
c_2div_1.add(gdstk.Label('vp', (-72.84,-8.09), layer=8, texttype=2))
c_2div_1.add(gdstk.Label('gd', (-73.05,37.63), layer=8, texttype=2))
c_2div_1.add(gdstk.Label('gd', (-73.05,24.62), layer=8, texttype=2))
c_2div_1.add(gdstk.Label('gd', (-73.05,11.53), layer=8, texttype=2))
c_2div_1.add(gdstk.Label('gd', (-73.05,-1.64), layer=8, texttype=2))
c_2div_1.add(gdstk.Label('div128', (-62.979,-1.579), layer=10, texttype=2))
c_2div_1.add(gdstk.Label('div64', (-63.549,4.95), layer=10, texttype=2))
c_2div_1.add(gdstk.Label('div32', (-64.029,11.49), layer=10, texttype=2))
c_2div_1.add(gdstk.Label('div16', (-64.629,18.03), layer=10, texttype=2))
c_2div_1.add(gdstk.Label('div8', (-65.179,24.58), layer=10, texttype=2))
c_2div_1.add(gdstk.Label('div4', (-65.829,31.12), layer=10, texttype=2))
c_2div_1.add(gdstk.Label('div2', (-66.409,37.67), layer=10, texttype=2))
c_2div_1.add(gdstk.Label('in', (-66.953,36.32), layer=30, texttype=2))

lib.write_gds('2Div_1.gds')
